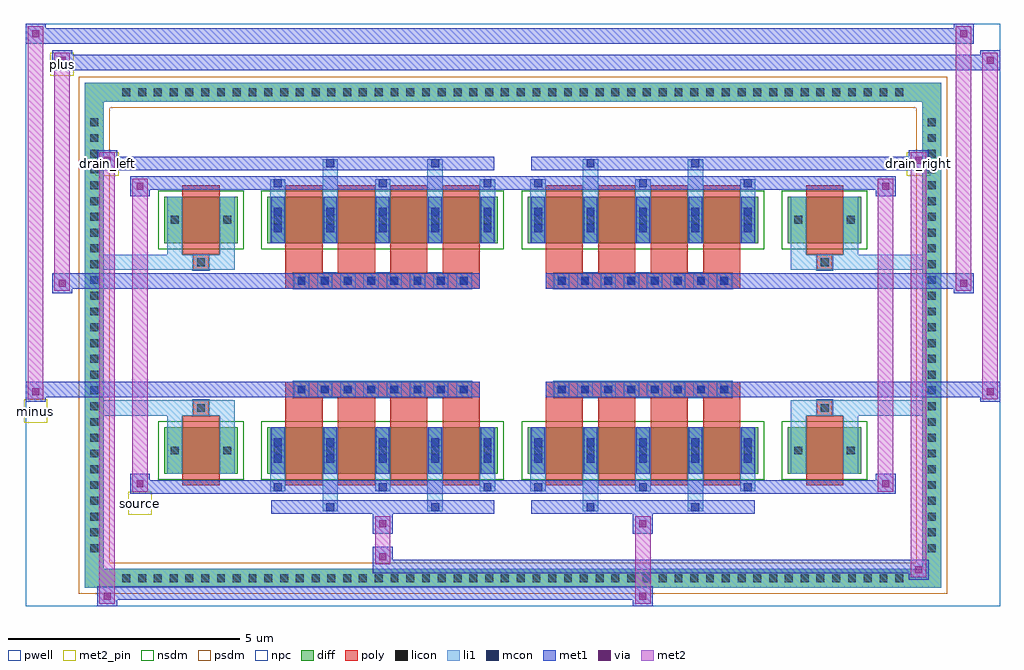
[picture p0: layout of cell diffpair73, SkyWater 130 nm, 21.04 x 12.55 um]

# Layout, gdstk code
import gdstk
lib = gdstk.Library(unit=1e-6, precision=5e-09)
def R(c, l, rs):  # rectangles x0, y0, x1, y1
    for r in rs: c.add(gdstk.rectangle(r[:2], r[2:], *l))
def A(c, l, x, y, w, h, nx, ny, dx, dy):  # array of equal rectangles
    R(c, l, [(x+i*dx, y+j*dy, x+i*dx+w, y+j*dy+h) for i in range(nx) for j in range(ny)])
def P(c, l, *ps):  # polygons
    for p in ps: c.add(gdstk.Polygon(p, *l))
pwell = (64, 44)
diff = (65, 20)
poly = (66, 20)
licon = (66, 44)
li1 = (67, 20)
mcon = (67, 44)
met1 = (68, 20)
via = (68, 44)
met2_pin = (69, 16)
met2 = (69, 20)
nsdm = (93, 44)
psdm = (94, 20)
npc = (95, 20)

diffpair73 = lib.new_cell('diffpair73')
R(diffpair73, pwell, [(-10.5,-5.84,10.5,6.71), (-7.82,-4.03,-0.01,-0.805), (0.01,-4.03,7.82,-0.805), (-7.82,0.805,-0.01,4.03), (0.01,0.805,7.82,4.03)])
A(diffpair73, diff, -8.535, -5.44, 0.41, 0.41, 50, 2, 0.34, 10.47)
A(diffpair73, diff, -9.23, -4.795, 0.41, 0.41, 1, 28, 0, 0.34)
A(diffpair73, diff, 8.82, -4.795, 0.41, 0.41, 1, 28, 0, 0.34)
R(diffpair73, diff, [(-8.535,-5.44,8.535,-5.03), (-9.23,-4.795,-8.82,4.795), (8.82,-4.795,9.23,4.795), (-7.51,-2.985,-5.93,-1.985), (-5.29,-2.985,-0.32,-1.985), (0.32,-2.985,5.29,-1.985), (5.93,-2.985,7.51,-1.985), (-7.51,1.985,-5.93,2.985), (-5.29,1.985,-0.32,2.985), (0.32,1.985,5.29,2.985), (5.93,1.985,7.51,2.985), (-8.535,5.03,8.535,5.44)])
P(diffpair73, diff, [(9.23,5.44),(-9.23,5.44),(-9.23,-5.03),(-8.82,-5.03),(-8.82,5.03),(8.82,5.03),(8.82,-5.03),(-8.82,-5.03),(-9.23,-5.03),(-9.23,-5.44),(9.23,-5.44)])
A(diffpair73, poly, -4.9, -3.235, 0.8, 1.5, 4, 2, 1.13, 4.97)
A(diffpair73, poly, 0.71, -3.235, 0.8, 1.5, 4, 2, 1.13, 4.97)
A(diffpair73, poly, -4.9, -1.735, 0.8, 0.4, 4, 2, 1.13, 3.07)
A(diffpair73, poly, 0.71, -1.735, 0.8, 0.4, 4, 2, 1.13, 3.07)
A(diffpair73, poly, -4.72, -1.335, 0.33, 0.33, 8, 2, 0.5, 2.34)
A(diffpair73, poly, 0.89, -1.335, 0.33, 0.33, 8, 2, 0.5, 2.34)
R(diffpair73, poly, [(-7.12,-3.235,-6.32,-1.735), (6.32,-3.235,7.12,-1.735), (-6.885,-1.735,-6.555,-1.405), (-6.885,-1.735,-6.555,-1.405), (6.555,-1.735,6.885,-1.405), (6.555,-1.735,6.885,-1.405), (-4.9,-1.335,-0.71,-1.005), (0.71,-1.335,4.9,-1.005), (-4.9,1.005,-0.71,1.335), (0.71,1.005,4.9,1.335), (-6.885,1.405,-6.555,1.735), (-6.885,1.405,-6.555,1.735), (6.555,1.405,6.885,1.735), (6.555,1.405,6.885,1.735), (-7.12,1.735,-6.32,3.235), (6.32,1.735,7.12,3.235)])
A(diffpair73, licon, -8.415, -5.32, 0.17, 0.17, 50, 2, 0.34, 10.47)
A(diffpair73, licon, -9.11, -4.675, 0.17, 0.17, 1, 28, 0, 0.34)
A(diffpair73, licon, 8.94, -4.675, 0.17, 0.17, 1, 28, 0, 0.34)
A(diffpair73, licon, -5.15, -2.57, 0.17, 0.17, 5, 2, 1.13, 4.97)
A(diffpair73, licon, 0.46, -2.57, 0.17, 0.17, 5, 2, 1.13, 4.97)
A(diffpair73, licon, -4.64, -1.255, 0.17, 0.17, 8, 2, 0.5, 2.34)
A(diffpair73, licon, 0.97, -1.255, 0.17, 0.17, 8, 2, 0.5, 2.34)
R(diffpair73, licon, [(-7.37,-2.57,-7.2,-2.4), (-6.24,-2.57,-6.07,-2.4), (6.07,-2.57,6.24,-2.4), (7.2,-2.57,7.37,-2.4), (-6.805,-1.655,-6.635,-1.485), (6.635,-1.655,6.805,-1.485), (-6.805,1.485,-6.635,1.655), (6.635,1.485,6.805,1.655), (-7.37,2.4,-7.2,2.57), (-6.24,2.4,-6.07,2.57), (6.07,2.4,6.24,2.57), (7.2,2.4,7.37,2.57)])
A(diffpair73, li1, -8.495, -5.4, 0.33, 0.33, 50, 2, 0.34, 10.47)
A(diffpair73, li1, -9.19, -4.755, 0.33, 0.33, 1, 28, 0, 0.34)
A(diffpair73, li1, 8.86, -4.755, 0.33, 0.33, 1, 28, 0, 0.34)
A(diffpair73, li1, -5.23, -3.36, 0.33, 0.375, 3, 2, 2.26, 6.345)
A(diffpair73, li1, -5.15, -3.36, 0.17, 0.17, 3, 2, 2.26, 6.55)
A(diffpair73, li1, 0.38, -3.36, 0.33, 0.375, 3, 2, 2.26, 6.345)
A(diffpair73, li1, 0.46, -3.36, 0.17, 0.17, 3, 2, 2.26, 6.55)
A(diffpair73, li1, -5.23, -2.985, 0.33, 1, 5, 2, 1.13, 4.97)
A(diffpair73, li1, 0.38, -2.985, 0.33, 1, 5, 2, 1.13, 4.97)
A(diffpair73, li1, -5.15, -2.75, 0.17, 0.17, 5, 2, 1.13, 0.36)
A(diffpair73, li1, -5.15, -2.75, 0.17, 0.53, 5, 2, 1.13, 4.97)
A(diffpair73, li1, 0.46, -2.75, 0.17, 0.17, 5, 2, 1.13, 0.36)
A(diffpair73, li1, 0.46, -2.75, 0.17, 0.53, 5, 2, 1.13, 4.97)
A(diffpair73, li1, -5.23, -2.65, 0.33, 0.33, 5, 2, 1.13, 4.97)
A(diffpair73, li1, 0.38, -2.65, 0.33, 0.33, 5, 2, 1.13, 4.97)
A(diffpair73, li1, -4.72, -1.335, 0.33, 0.33, 8, 2, 0.5, 2.34)
A(diffpair73, li1, 0.89, -1.335, 0.33, 0.33, 8, 2, 0.5, 2.34)
A(diffpair73, li1, -5.15, 2.22, 0.17, 0.17, 5, 2, 1.13, 0.36)
A(diffpair73, li1, 0.46, 2.22, 0.17, 0.17, 5, 2, 1.13, 0.36)
R(diffpair73, li1, [(-9.23,-5.44,-8.82,-5.03), (-9.23,-5.44,-8.82,-5.03), (-8.82,-5.44,8.82,-5.03), (8.82,-5.44,9.23,-5.03), (8.82,-5.44,9.23,-5.03), (-9.23,-5.03,-8.82,5.03), (8.82,-5.03,9.23,5.03), (-4.1,-3.79,-3.77,-2.985), (-4.02,-3.79,-3.85,-3.62), (-1.84,-3.79,-1.51,-2.985), (-1.76,-3.79,-1.59,-3.62), (1.51,-3.79,1.84,-2.985), (1.59,-3.79,1.76,-3.62), (3.77,-3.79,4.1,-2.985), (3.85,-3.79,4.02,-3.62), (-7.45,-2.985,-7.12,-1.985), (-6.32,-2.985,-5.99,-1.985), (5.99,-2.985,6.32,-1.985), (7.12,-2.985,7.45,-1.985), (-7.45,-2.65,-7.12,-2.32), (-6.32,-2.65,-5.99,-2.32), (5.99,-2.65,6.32,-2.32), (7.12,-2.65,7.45,-2.32), (-7.45,-1.985,-7.12,-1.405), (-6.32,-1.985,-5.99,-1.405), (5.99,-1.985,6.32,-1.405), (7.12,-1.985,7.45,-1.405), (-9.23,-1.735,-6.885,-1.405), (-7.45,-1.735,-6.885,-1.405), (-6.885,-1.735,-6.555,-1.405), (-6.555,-1.735,-5.99,-1.405), (5.99,-1.735,6.555,-1.405), (6.555,-1.735,6.885,-1.405), (6.555,-1.735,9.23,-1.405), (6.885,-1.735,7.45,-1.405), (-9.23,1.405,-6.885,1.735), (-7.45,1.405,-6.885,1.735), (-7.45,1.405,-7.12,1.985), (-6.885,1.405,-6.555,1.735), (-6.555,1.405,-5.99,1.735), (-6.32,1.405,-5.99,1.985), (5.99,1.405,6.555,1.735), (5.99,1.405,6.32,1.985), (6.555,1.405,6.885,1.735), (6.555,1.405,9.23,1.735), (6.885,1.405,7.45,1.735), (7.12,1.405,7.45,1.985), (-7.45,1.985,-7.12,2.985), (-6.32,1.985,-5.99,2.985), (5.99,1.985,6.32,2.985), (7.12,1.985,7.45,2.985), (-7.45,2.32,-7.12,2.65), (-6.32,2.32,-5.99,2.65), (5.99,2.32,6.32,2.65), (7.12,2.32,7.45,2.65), (-4.1,2.985,-3.77,3.79), (-1.84,2.985,-1.51,3.79), (1.51,2.985,1.84,3.79), (3.77,2.985,4.1,3.79), (-4.02,3.62,-3.85,3.79), (-1.76,3.62,-1.59,3.79), (1.59,3.62,1.76,3.79), (3.85,3.62,4.02,3.79), (-9.23,5.03,-8.82,5.44), (-9.23,5.03,-8.82,5.44), (-8.82,5.03,8.82,5.44), (8.82,5.03,9.23,5.44), (8.82,5.03,9.23,5.44)])
A(diffpair73, mcon, -5.15, -3.36, 0.17, 0.17, 3, 2, 2.26, 6.55)
A(diffpair73, mcon, 0.46, -3.36, 0.17, 0.17, 3, 2, 2.26, 6.55)
A(diffpair73, mcon, -5.15, -2.75, 0.17, 0.17, 5, 2, 1.13, 0.36)
A(diffpair73, mcon, 0.46, -2.75, 0.17, 0.17, 5, 2, 1.13, 0.36)
A(diffpair73, mcon, -4.64, -1.255, 0.17, 0.17, 8, 2, 0.5, 2.34)
A(diffpair73, mcon, 0.97, -1.255, 0.17, 0.17, 8, 2, 0.5, 2.34)
A(diffpair73, mcon, -5.15, 2.22, 0.17, 0.17, 5, 2, 1.13, 0.36)
A(diffpair73, mcon, 0.46, 2.22, 0.17, 0.17, 5, 2, 1.13, 0.36)
R(diffpair73, mcon, [(-4.02,-3.79,-3.85,-3.62), (-1.76,-3.79,-1.59,-3.62), (1.59,-3.79,1.76,-3.62), (3.85,-3.79,4.02,-3.62), (-4.02,3.62,-3.85,3.79), (-1.76,3.62,-1.59,3.79), (1.59,3.62,1.76,3.79), (3.85,3.62,4.02,3.79)])
A(diffpair73, met1, -5.21, -3.42, 0.29, 0.29, 3, 2, 2.26, 6.55)
A(diffpair73, met1, 0.4, -3.42, 0.29, 0.29, 3, 2, 2.26, 6.55)
A(diffpair73, met1, -5.21, -2.985, 0.29, 1, 5, 2, 1.13, 4.97)
A(diffpair73, met1, 0.4, -2.985, 0.29, 1, 5, 2, 1.13, 4.97)
A(diffpair73, met1, -5.21, -2.81, 0.29, 0.29, 5, 2, 1.13, 0.36)
A(diffpair73, met1, 0.4, -2.81, 0.29, 0.29, 5, 2, 1.13, 0.36)
A(diffpair73, met1, -4.7, -1.315, 0.29, 0.29, 8, 2, 0.5, 2.34)
A(diffpair73, met1, 0.91, -1.315, 0.29, 0.29, 8, 2, 0.5, 2.34)
A(diffpair73, met1, -5.21, 2.16, 0.29, 0.29, 5, 2, 1.13, 0.36)
A(diffpair73, met1, 0.4, 2.16, 0.29, 0.29, 5, 2, 1.13, 0.36)
R(diffpair73, met1, [(-8.96,-5.84,-8.53,-5.41), (2.59,-5.84,3.02,-5.41), (-8.96,-5.7,3.02,-5.41), (8.53,-5.27,8.96,-4.84), (-3.02,-5.13,8.96,-4.84), (-3.02,-4.99,-2.59,-4.56), (-3.02,-4.28,-2.59,-3.85), (2.59,-4.28,3.02,-3.85), (-5.21,-3.85,-0.4,-3.56), (-4.08,-3.85,-3.79,-3.56), (-1.82,-3.85,-1.53,-3.56), (0.4,-3.85,5.21,-3.56), (1.53,-3.85,1.82,-3.56), (3.79,-3.85,4.08,-3.56), (-8.25,-3.42,-7.82,-2.99), (-8.25,-3.42,-5.21,-3.13), (-5.21,-3.42,-0.4,-3.13), (-0.4,-3.42,0.4,-3.13), (0.4,-3.42,5.21,-3.13), (5.21,-3.42,8.25,-3.13), (7.82,-3.42,8.25,-2.99), (-10.5,-1.435,-10.07,-1.005), (10.07,-1.435,10.5,-1.005), (-10.5,-1.335,-0.71,-1.005), (-4.9,-1.335,-0.71,-1.005), (0.71,-1.335,4.9,-1.005), (0.71,-1.335,10.5,-1.005), (-9.93,0.905,-9.5,1.335), (9.5,0.905,9.93,1.335), (-9.93,1.005,-4.9,1.335), (-4.9,1.005,-0.71,1.335), (0.71,1.005,4.9,1.335), (4.9,1.005,9.93,1.335), (-8.25,2.99,-7.82,3.42), (7.82,2.99,8.25,3.42), (-8.25,3.13,-5.21,3.42), (-5.21,3.13,-0.4,3.42), (-0.4,3.13,0.4,3.42), (0.4,3.13,5.21,3.42), (5.21,3.13,8.25,3.42), (-8.96,3.56,-8.53,3.99), (-8.96,3.56,-5.21,3.85), (-5.21,3.56,-0.4,3.85), (-4.08,3.56,-3.79,3.85), (-1.82,3.56,-1.53,3.85), (0.4,3.56,5.21,3.85), (1.53,3.56,1.82,3.85), (3.79,3.56,4.08,3.85), (5.21,3.56,8.96,3.85), (8.53,3.56,8.96,3.99), (-9.93,5.71,-9.5,6.14), (-9.93,5.71,-7.82,6.04), (-7.82,5.71,7.82,6.04), (7.82,5.71,10.5,6.04), (10.07,5.71,10.5,6.14), (-10.5,6.28,-10.07,6.71), (-10.5,6.28,-7.82,6.61), (-7.82,6.28,7.82,6.61), (7.82,6.28,9.93,6.61), (9.5,6.28,9.93,6.71)])
R(diffpair73, via, [(-8.82,-5.7,-8.67,-5.55), (2.73,-5.7,2.88,-5.55), (8.67,-5.13,8.82,-4.98), (-2.88,-4.85,-2.73,-4.7), (-2.88,-4.14,-2.73,-3.99), (2.73,-4.14,2.88,-3.99), (-8.11,-3.28,-7.96,-3.13), (7.96,-3.28,8.11,-3.13), (-10.36,-1.295,-10.21,-1.145), (10.21,-1.295,10.36,-1.145), (-9.79,1.045,-9.64,1.195), (9.64,1.045,9.79,1.195), (-8.11,3.13,-7.96,3.28), (7.96,3.13,8.11,3.28), (-8.82,3.7,-8.67,3.85), (8.67,3.7,8.82,3.85), (-9.79,5.85,-9.64,6), (10.21,5.85,10.36,6), (-10.36,6.42,-10.21,6.57), (9.64,6.42,9.79,6.57)])
R(diffpair73, met2_pin, [(-8.285,-3.87,-7.785,-3.37), (-10.535,-1.885,-10.035,-1.385), (-8.995,3.44,-8.495,3.94), (8.495,3.44,8.995,3.94), (-9.965,5.59,-9.465,6.09)])
R(diffpair73, met2, [(-8.91,-5.79,-8.58,-5.46), (-8.91,-5.79,-8.58,3.94), (2.64,-5.79,2.97,-5.46), (2.64,-5.46,2.97,-4.23), (8.58,-5.22,8.91,-4.89), (8.58,-5.22,8.91,3.94), (-2.97,-4.94,-2.64,-4.61), (-2.97,-4.61,-2.64,-4.23), (-2.97,-4.23,-2.64,-3.9), (2.64,-4.23,2.97,-3.9), (-8.2,-3.37,-7.87,-3.04), (-8.2,-3.37,-7.87,3.37), (7.87,-3.37,8.2,-3.04), (7.87,-3.37,8.2,3.37), (-10.45,-1.385,-10.12,-1.055), (-10.45,-1.385,-10.12,6.66), (10.12,-1.385,10.45,-1.055), (10.12,-1.385,10.45,6.09), (-9.88,0.955,-9.55,1.285), (-9.88,0.955,-9.55,6.09), (9.55,0.955,9.88,1.285), (9.55,0.955,9.88,6.66), (-8.2,3.04,-7.87,3.37), (7.87,3.04,8.2,3.37), (-8.91,3.61,-8.58,3.94), (8.58,3.61,8.91,3.94), (-9.88,5.76,-9.55,6.09), (10.12,5.76,10.45,6.09), (-10.45,6.33,-10.12,6.66), (9.55,6.33,9.88,6.66)])
P(diffpair73, met2, [(10.45,-1.385),(10.45,-1.385),(10.45,-1.055),(10.45,-1.055)],
  [(10.45,5.76),(10.45,5.76),(10.45,6.09),(10.45,6.09)],
  [(-10.12,-1.385),(-10.12,-1.385),(-10.12,-1.055),(-10.12,-1.055)],
  [(-10.12,6.33),(-10.12,6.33),(-10.12,6.66),(-10.12,6.66)],
  [(9.88,0.955),(9.88,0.955),(9.88,1.285),(9.88,1.285)],
  [(9.88,6.33),(9.88,6.33),(9.88,6.66),(9.88,6.66)],
  [(-9.55,0.955),(-9.55,0.955),(-9.55,1.285),(-9.55,1.285)],
  [(-9.55,5.76),(-9.55,5.76),(-9.55,6.09),(-9.55,6.09)],
  [(-8.58,-5.79),(-8.58,-5.79),(-8.58,-5.46),(-8.58,-5.46)],
  [(-8.58,3.61),(-8.58,3.61),(-8.58,3.94),(-8.58,3.94)],
  [(8.91,-5.22),(8.91,-5.22),(8.91,-4.89),(8.91,-4.89)],
  [(8.91,3.61),(8.91,3.61),(8.91,3.94),(8.91,3.94)],
  [(-7.87,-3.37),(-7.87,-3.37),(-7.87,-3.04),(-7.87,-3.04)],
  [(-7.87,3.04),(-7.87,3.04),(-7.87,3.37),(-7.87,3.37)],
  [(8.2,-3.37),(8.2,-3.37),(8.2,-3.04),(8.2,-3.04)],
  [(8.2,3.04),(8.2,3.04),(8.2,3.37),(8.2,3.37)])
R(diffpair73, nsdm, [(-7.64,-3.115,-5.8,-1.855), (-5.42,-3.115,-0.19,-1.855), (0.19,-3.115,5.42,-1.855), (5.8,-3.115,7.64,-1.855), (-7.64,1.855,-5.8,3.115), (-5.42,1.855,-0.19,3.115), (0.19,1.855,5.42,3.115), (5.8,1.855,7.64,3.115)])
P(diffpair73, psdm, [(9.36,5.57),(-9.36,5.57),(-9.36,-4.9),(-8.69,-4.9),(-8.69,4.9),(8.69,4.9),(8.69,-4.9),(-8.69,-4.9),(-9.36,-4.9),(-9.36,-5.57),(9.36,-5.57)])
A(diffpair73, npc, -4.74, -1.355, 0.37, 0.37, 8, 2, 0.5, 2.34)
A(diffpair73, npc, 0.87, -1.355, 0.37, 0.37, 8, 2, 0.5, 2.34)
R(diffpair73, npc, [(-6.905,-1.755,-6.535,-1.385), (6.535,-1.755,6.905,-1.385), (-4.74,-1.355,-3.87,-0.985), (-4.74,-1.355,-3.87,-0.985), (-4.24,-1.355,-3.37,-0.985), (-4.24,-1.355,-3.37,-0.985), (-3.74,-1.355,-2.87,-0.985), (-3.74,-1.355,-2.87,-0.985), (-3.24,-1.355,-2.37,-0.985), (-3.24,-1.355,-2.37,-0.985), (-2.74,-1.355,-1.87,-0.985), (-2.74,-1.355,-1.87,-0.985), (-2.24,-1.355,-1.37,-0.985), (-2.24,-1.355,-1.37,-0.985), (-1.74,-1.355,-0.87,-0.985), (-1.74,-1.355,-0.87,-0.985), (0.87,-1.355,1.74,-0.985), (0.87,-1.355,1.74,-0.985), (1.37,-1.355,2.24,-0.985), (1.37,-1.355,2.24,-0.985), (1.87,-1.355,2.74,-0.985), (1.87,-1.355,2.74,-0.985), (2.37,-1.355,3.24,-0.985), (2.37,-1.355,3.24,-0.985), (2.87,-1.355,3.74,-0.985), (2.87,-1.355,3.74,-0.985), (3.37,-1.355,4.24,-0.985), (3.37,-1.355,4.24,-0.985), (3.87,-1.355,4.74,-0.985), (3.87,-1.355,4.74,-0.985), (-4.74,0.985,-3.87,1.355), (-4.74,0.985,-3.87,1.355), (-4.24,0.985,-3.37,1.355), (-4.24,0.985,-3.37,1.355), (-3.74,0.985,-2.87,1.355), (-3.74,0.985,-2.87,1.355), (-3.24,0.985,-2.37,1.355), (-3.24,0.985,-2.37,1.355), (-2.74,0.985,-1.87,1.355), (-2.74,0.985,-1.87,1.355), (-2.24,0.985,-1.37,1.355), (-2.24,0.985,-1.37,1.355), (-1.74,0.985,-0.87,1.355), (-1.74,0.985,-0.87,1.355), (0.87,0.985,1.74,1.355), (0.87,0.985,1.74,1.355), (1.37,0.985,2.24,1.355), (1.37,0.985,2.24,1.355), (1.87,0.985,2.74,1.355), (1.87,0.985,2.74,1.355), (2.37,0.985,3.24,1.355), (2.37,0.985,3.24,1.355), (2.87,0.985,3.74,1.355), (2.87,0.985,3.74,1.355), (3.37,0.985,4.24,1.355), (3.37,0.985,4.24,1.355), (3.87,0.985,4.74,1.355), (3.87,0.985,4.74,1.355), (-6.905,1.385,-6.535,1.755), (6.535,1.385,6.905,1.755)])
diffpair73.add(gdstk.Label('minus', (-10.285,-1.635), layer=69, texttype=5))
diffpair73.add(gdstk.Label('drain_right', (8.745,3.69), layer=69, texttype=5))
diffpair73.add(gdstk.Label('drain_left', (-8.745,3.69), layer=69, texttype=5))
diffpair73.add(gdstk.Label('source', (-8.035,-3.62), layer=69, texttype=5))
diffpair73.add(gdstk.Label('plus', (-9.715,5.84), layer=69, texttype=5))

lib.write_gds('diffpair73.gds')
